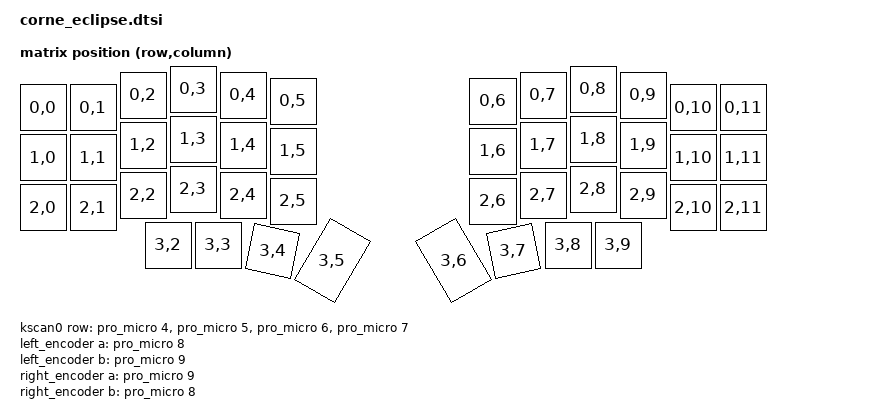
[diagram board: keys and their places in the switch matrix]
/*
 * Copyright (c) 2020 Pete Johanson
 *
 * SPDX-License-Identifier: MIT
 */

#include <dt-bindings/zmk/matrix_transform.h>
#include <physical_layouts.dtsi>

/ {
    chosen {
        zephyr,display = &oled;
        zmk,kscan = &kscan0;
        zmk,physical-layout = &physical_layout0;
    };

    physical_layout0: physical_layout_0 {
        compatible = "zmk,physical-layout";
        display-name = "Default Layout";
        kscan = <&kscan0>;
        transform = <&default_transform>;

        keys  //                     w   h    x    y     rot    rx    ry
            = <&key_physical_attrs 100 100    0   37       0     0     0>
            , <&key_physical_attrs 100 100  100   37       0     0     0>
            , <&key_physical_attrs 100 100  200   12       0     0     0>
            , <&key_physical_attrs 100 100  300    0       0     0     0>
            , <&key_physical_attrs 100 100  400   12       0     0     0>
            , <&key_physical_attrs 100 100  500   24       0     0     0>
            , <&key_physical_attrs 100 100  900   24       0     0     0>
            , <&key_physical_attrs 100 100 1000   12       0     0     0>
            , <&key_physical_attrs 100 100 1100    0       0     0     0>
            , <&key_physical_attrs 100 100 1200   12       0     0     0>
            , <&key_physical_attrs 100 100 1300   37       0     0     0>
            , <&key_physical_attrs 100 100 1400   37       0     0     0>
            , <&key_physical_attrs 100 100    0  137       0     0     0>
            , <&key_physical_attrs 100 100  100  137       0     0     0>
            , <&key_physical_attrs 100 100  200  112       0     0     0>
            , <&key_physical_attrs 100 100  300  100       0     0     0>
            , <&key_physical_attrs 100 100  400  112       0     0     0>
            , <&key_physical_attrs 100 100  500  124       0     0     0>
            , <&key_physical_attrs 100 100  900  124       0     0     0>
            , <&key_physical_attrs 100 100 1000  112       0     0     0>
            , <&key_physical_attrs 100 100 1100  100       0     0     0>
            , <&key_physical_attrs 100 100 1200  112       0     0     0>
            , <&key_physical_attrs 100 100 1300  137       0     0     0>
            , <&key_physical_attrs 100 100 1400  137       0     0     0>
            , <&key_physical_attrs 100 100    0  237       0     0     0>
            , <&key_physical_attrs 100 100  100  237       0     0     0>
            , <&key_physical_attrs 100 100  200  212       0     0     0>
            , <&key_physical_attrs 100 100  300  200       0     0     0>
            , <&key_physical_attrs 100 100  400  212       0     0     0>
            , <&key_physical_attrs 100 100  500  224       0     0     0>
            , <&key_physical_attrs 100 100  900  224       0     0     0>
            , <&key_physical_attrs 100 100 1000  212       0     0     0>
            , <&key_physical_attrs 100 100 1100  200       0     0     0>
            , <&key_physical_attrs 100 100 1200  212       0     0     0>
            , <&key_physical_attrs 100 100 1300  237       0     0     0>
            , <&key_physical_attrs 100 100 1400  237       0     0     0>
            , <&key_physical_attrs 100 100  250  312       0     0     0>
            , <&key_physical_attrs 100 100  350  312       0     0     0>
            , <&key_physical_attrs 100 100  450  312    1200   450   412>
            , <&key_physical_attrs 100 150  548  283    3000   548   433>
            , <&key_physical_attrs 100 150  852  283  (-3000)  952   433>
            , <&key_physical_attrs 100 100  950  312  (-1200) 1050   412>
            , <&key_physical_attrs 100 100 1050  312       0     0     0>
            , <&key_physical_attrs 100 100 1150  312       0     0     0>
            ;
    };

    /*
    physical_layout1: physical_layout_1 {
        compatible = "zmk,physical-layout";
        display-name = "Five Column Layout";
        kscan = <&kscan0>;
        transform = <&five_column_transform>;

        keys  //                     w   h    x    y     rot    rx    ry
            = <&key_physical_attrs 100 100    0   37       0     0     0>
            , <&key_physical_attrs 100 100  100   12       0     0     0>
            , <&key_physical_attrs 100 100  200    0       0     0     0>
            , <&key_physical_attrs 100 100  300   12       0     0     0>
            , <&key_physical_attrs 100 100  400   24       0     0     0>
            , <&key_physical_attrs 100 100  800   24       0     0     0>
            , <&key_physical_attrs 100 100  900   12       0     0     0>
            , <&key_physical_attrs 100 100 1000    0       0     0     0>
            , <&key_physical_attrs 100 100 1100   12       0     0     0>
            , <&key_physical_attrs 100 100 1200   37       0     0     0>
            , <&key_physical_attrs 100 100    0  137       0     0     0>
            , <&key_physical_attrs 100 100  100  112       0     0     0>
            , <&key_physical_attrs 100 100  200  100       0     0     0>
            , <&key_physical_attrs 100 100  300  112       0     0     0>
            , <&key_physical_attrs 100 100  400  124       0     0     0>
            , <&key_physical_attrs 100 100  800  124       0     0     0>
            , <&key_physical_attrs 100 100  900  112       0     0     0>
            , <&key_physical_attrs 100 100 1000  100       0     0     0>
            , <&key_physical_attrs 100 100 1100  112       0     0     0>
            , <&key_physical_attrs 100 100 1200  137       0     0     0>
            , <&key_physical_attrs 100 100    0  237       0     0     0>
            , <&key_physical_attrs 100 100  100  212       0     0     0>
            , <&key_physical_attrs 100 100  200  200       0     0     0>
            , <&key_physical_attrs 100 100  300  212       0     0     0>
            , <&key_physical_attrs 100 100  400  224       0     0     0>
            , <&key_physical_attrs 100 100  800  224       0     0     0>
            , <&key_physical_attrs 100 100  900  212       0     0     0>
            , <&key_physical_attrs 100 100 1000  200       0     0     0>
            , <&key_physical_attrs 100 100 1100  212       0     0     0>
            , <&key_physical_attrs 100 100 1200  237       0     0     0>
            , <&key_physical_attrs 100 100  150  312       0     0     0>
            , <&key_physical_attrs 100 100  250  312       0     0     0>
            , <&key_physical_attrs 100 100  350  312    1200   350   412>
            , <&key_physical_attrs 100 150  448  283    2400   448   433>
            , <&key_physical_attrs 100 150  752  283  (-2400)  852   433>
            , <&key_physical_attrs 100 100  850  312  (-1200)  950   412>
            , <&key_physical_attrs 100 100  950  312       0     0     0>
            , <&key_physical_attrs 100 100 1050  312       0     0     0>
            ;
    };
    */

    default_transform: keymap_transform_0 {
        compatible = "zmk,matrix-transform";
        columns = <12>;
        rows = <4>;
// | SW1  | SW2  | SW3  | SW4  | SW5  | SW6  |   | SW6  | SW5  | SW4  | SW3  | SW2  | SW1  |
// | SW7  | SW8  | SW9  | SW10 | SW11 | SW12 |   | SW12 | SW11 | SW10 | SW9  | SW8  | SW7  |
// | SW13 | SW14 | SW15 | SW16 | SW17 | SW18 |   | SW18 | SW17 | SW16 | SW15 | SW14 | SW13 |
//               | SW19 | SW20 | SW21 | SW22 |   | SW22 | SW21 | SW20 | SW19 |
        map = <
RC(0,0) RC(0,1) RC(0,2) RC(0,3) RC(0,4) RC(0,5)  RC(0,6) RC(0,7) RC(0,8) RC(0,9) RC(0,10) RC(0,11)
RC(1,0) RC(1,1) RC(1,2) RC(1,3) RC(1,4) RC(1,5)  RC(1,6) RC(1,7) RC(1,8) RC(1,9) RC(1,10) RC(1,11)
RC(2,0) RC(2,1) RC(2,2) RC(2,3) RC(2,4) RC(2,5)  RC(2,6) RC(2,7) RC(2,8) RC(2,9) RC(2,10) RC(2,11)
                RC(3,2) RC(3,3) RC(3,4) RC(3,5)  RC(3,6) RC(3,7) RC(3,8) RC(3,9)
        >;
    };

    /*
    five_column_transform: keymap_transform_1 {
        compatible = "zmk,matrix-transform";
        columns = <10>;
        rows = <4>;
// | SW2  | SW3  | SW4  | SW5  | SW6  |   | SW6  | SW5  | SW4  | SW3  | SW2  |
// | SW8  | SW9  | SW10 | SW11 | SW12 |   | SW12 | SW11 | SW10 | SW9  | SW8  |
// | SW14 | SW15 | SW16 | SW17 | SW18 |   | SW18 | SW17 | SW16 | SW15 | SW14 |
//        | SW19 | SW20 | SW21 | SW22 |   | SW22 | SW21 | SW20 | SW19 |
        map = <
RC(0,1) RC(0,2) RC(0,3) RC(0,4) RC(0,5)  RC(0,6) RC(0,7) RC(0,8) RC(0,9) RC(0,10)
RC(1,1) RC(1,2) RC(1,3) RC(1,4) RC(1,5)  RC(1,6) RC(1,7) RC(1,8) RC(1,9) RC(1,10)
RC(2,1) RC(2,2) RC(2,3) RC(2,4) RC(2,5)  RC(2,6) RC(2,7) RC(2,8) RC(2,9) RC(2,10)
        RC(3,2) RC(3,3) RC(3,4) RC(3,5)  RC(3,6) RC(3,7) RC(3,8) RC(3,9)
        >;
    };
    */

    kscan0: kscan {
        compatible = "zmk,kscan-gpio-matrix";
        wakeup-source;

        diode-direction = "col2row";
        row-gpios
            = <&pro_micro 4 (GPIO_ACTIVE_HIGH | GPIO_PULL_DOWN)>
            , <&pro_micro 5 (GPIO_ACTIVE_HIGH | GPIO_PULL_DOWN)>
            , <&pro_micro 6 (GPIO_ACTIVE_HIGH | GPIO_PULL_DOWN)>
            , <&pro_micro 7 (GPIO_ACTIVE_HIGH | GPIO_PULL_DOWN)>
            ;

    };

    left_encoder: left_encoder {
        compatible = "alps,ec11";
        a-gpios = <&pro_micro 8 (GPIO_ACTIVE_HIGH | GPIO_PULL_UP)>;
        b-gpios = <&pro_micro 9 (GPIO_ACTIVE_HIGH | GPIO_PULL_UP)>;
        steps = <20>;
        status = "disabled";
    };

    right_encoder: right_encoder {
        compatible = "alps,ec11";
        a-gpios = <&pro_micro 9 (GPIO_ACTIVE_HIGH | GPIO_PULL_UP)>;
        b-gpios = <&pro_micro 8 (GPIO_ACTIVE_HIGH | GPIO_PULL_UP)>;
        steps = <20>;
        status = "disabled";
    };

    sensors {
        compatible = "zmk,keymap-sensors";
        sensors = <&left_encoder &right_encoder>;
        triggers-per-rotation = <10>;
    };
};

&pro_micro_i2c {
    status = "okay";

    oled: ssd1306@3c {
        compatible = "solomon,ssd1306fb";
        reg = <0x3c>;
        width = <128>;
        height = <32>;
        segment-offset = <0>;
        page-offset = <0>;
        display-offset = <0>;
        multiplex-ratio = <31>;
        segment-remap;
        com-invdir;
        com-sequential;
        inversion-on;
        prechargep = <0x22>;
    };
};
